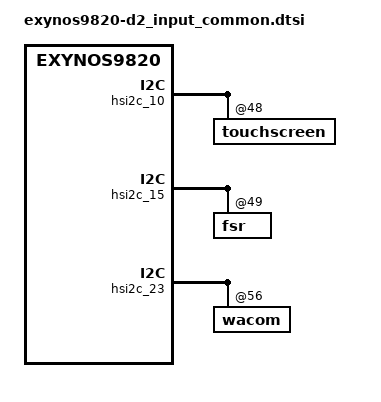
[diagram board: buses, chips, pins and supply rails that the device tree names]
/*
 * SAMSUNG EXYNOS9820 board device tree source
 *
 * Copyright (c) 2018 Samsung Electronics Co., Ltd.
 *		http://www.samsung.com
 *
 * This program is free software; you can redistribute it and/or modify
 * it under the terms of the GNU General Public License version 2 as
 * published by the Free Software Foundation.
*/

#include "exynos9820-d_input_common.dtsi"

/ {
	fragment@model {
		target-path = "/";
		__overlay__ {
		};
	};
};

&hsi2c_10 {
	touchscreen@48 {
		sec,project_name = "DAVINCI", "N970";
		sec,firmware_name = "tsp_sec/y771_d2.bin";
		sec,tclm_level = <1>;
	};
};

&hsi2c_15 { /* keyless */
	fsr@49 {
		stm,firmware_name = "key_stm/fsr1ad04_d2.fw";
	};
};

&hsi2c_23 {
	wacom@56 {
		wacom,max_channel = <24 11>; /* x y */
		wacom,fw_path = "epen/w9020_d2.fw";
	};
};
